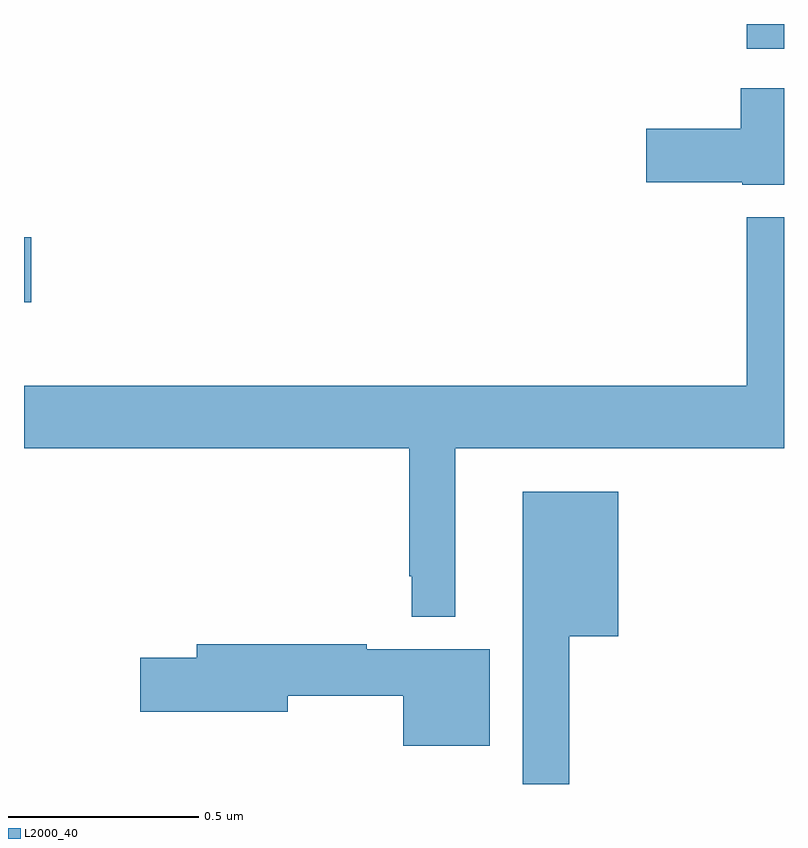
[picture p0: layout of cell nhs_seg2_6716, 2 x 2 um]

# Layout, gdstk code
import gdstk
lib = gdstk.Library(unit=1e-6, precision=1e-09)
def R(c, l, rs):  # rectangles x0, y0, x1, y1
    for r in rs: c.add(gdstk.rectangle(r[:2], r[2:], *l))
def P(c, l, *ps):  # polygons
    for p in ps: c.add(gdstk.Polygon(p, *l))
L2000_40 = (2000, 40)

nhs_seg2_6716 = lib.new_cell('nhs_seg2_6716')
R(nhs_seg2_6716, L2000_40, [(195,600.068,195.019,600.239), (196.902,600.735,197,600.8)])
P(nhs_seg2_6716, L2000_40, [(197,600.631),(196.886,600.631),(196.886,600.525),(196.638,600.525),(196.638,600.383),(196.89,600.383),(196.89,600.377),(197,600.377)],
  [(195,599.684),(196.014,599.684),(196.014,599.347),(196.02,599.347),(196.02,599.24),(196.135,599.24),(196.135,599.684),(197,599.684),(197,600.292),(196.902,600.292),(196.902,599.848),(195,599.848)],
  [(196.435,599.189),(196.564,599.189),(196.564,599.569),(196.313,599.569),(196.313,598.8),(196.435,598.8)],
  [(196.225,599.155),(195.902,599.155),(195.902,599.168),(195.455,599.168),(195.455,599.132),(195.306,599.132),(195.306,598.99),(195.694,598.99),(195.694,599.032),(195.998,599.032),(195.998,598.901),(196.225,598.901)])

lib.write_gds('nhs_seg2_6716.gds')
